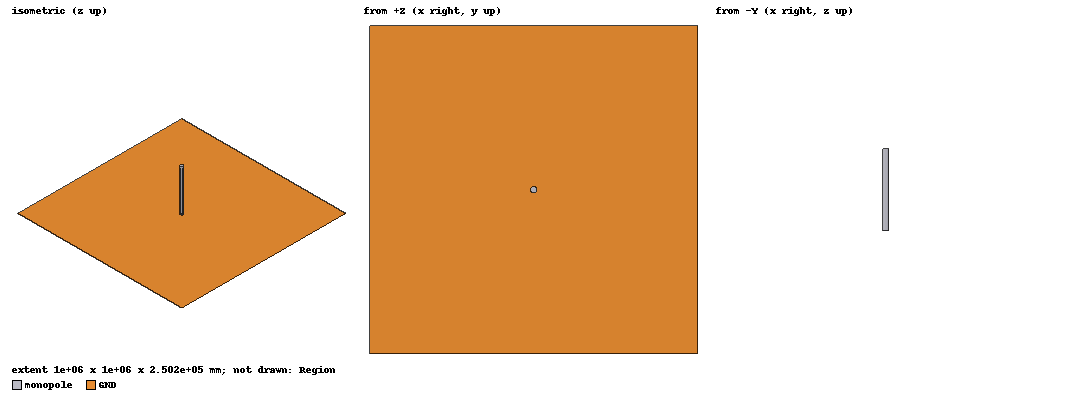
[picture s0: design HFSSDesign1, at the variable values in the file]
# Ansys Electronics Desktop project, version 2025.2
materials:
  vacuum: permittivity=1
  pec: conductivity=1e+30
  air: permittivity=1.0006 permeability=1.0000004

design HFSSDesign1 (HFSS, HFSS Modal Network, model units mm)
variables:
  lambda = 1000m
  GND_length = lambda
  Height = lambda/4
  Radius = lambda/100
  Gap = lambda/4000
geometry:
  GND = rectangle(corner=(-GND_length/2, -GND_length/2, 0mm), x_size=GND_length, y_size=GND_length)
  monopole [pec] = cylinder(axis=Z, base_centre=(0mm, 0mm, gap), radius=Radius, height=Height)
  Port = rectangle(corner=(0mm, -Radius, 0mm), y_size=2*Radius, z_size=gap)
  Region [air] = region(absolute_offset=lambda/4 on all sides)
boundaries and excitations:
  GND: Perfect E Objects=GND
  Rad1: Radiation Objects=Region
  1: Lumped Port Objects=Port LumpedPortType=Default Modes{Mode1{IntLine{(0, 0, 0) -> (0, 0, 0.25)} CharImp=Zpi}} Impedance=50ohm
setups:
  Setup1: HfssDriven Frequency=300MHz MaxDeltaS=0.02 MaximumPasses=20 MinimumPasses=1 MinimumConvergedPasses=1 PercentRefinement=30 BasisOrder=1 PortAccuracy=2 DrivenSolverType="Direct Solver"
    sweep Sweep: 200MHz to 400MHz, 200 points; Type=Fast SaveFields
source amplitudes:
  1:1: 1W 0deg
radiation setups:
  E_Plane: Infinite Sphere Theta=-180deg..180deg step 1deg Phi=0deg..0deg step 0deg
  H_Plane: Infinite Sphere Theta=90deg..90deg step 0deg Phi=0deg..360deg step 1deg
  3D_Sphere: Infinite Sphere Theta=0deg..180deg step 1deg Phi=0deg..360deg step 1deg
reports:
  Z Parameter Plot1: re(Z(1,1)), im(Z(1,1)) vs Freq on Setup1 : Sweep; markers MX1 at x=3e+08
  VSWR Plot1: VSWR(1) vs Freq on Setup1 : Sweep; markers m1 at 0.26633166GHz
  Gain Plot1: dB(GainTotal) vs Theta on Setup1 : LastAdaptive, E_Plane [Phi=all Freq=0.3GHz]; markers m1 at 0deg, m2 at 43deg
  Gain Plot2: dB(GainTotal) vs Theta on Setup1 : LastAdaptive, H_Plane [Phi=all Freq=0.3GHz]
  Gain Plot3: dB(GainTotal) vs Phi on Setup1 : LastAdaptive, H_Plane [Theta=all Freq=0.3GHz]; markers m1 at 1deg, m2 at 204deg
  Gain Plot4: dB(GainTotal) vs Phi on Setup1 : LastAdaptive, 3D_Sphere [Theta=all Freq=0.3GHz]
  Gain Plot5: dB(GainTotal) vs Phi, Theta on Setup1 : LastAdaptive, 3D_Sphere [Freq=0.3GHz]
